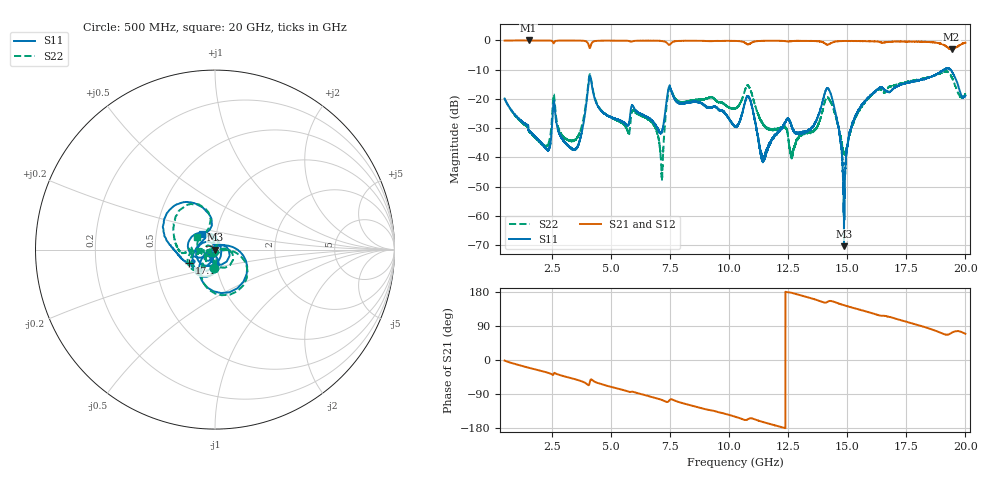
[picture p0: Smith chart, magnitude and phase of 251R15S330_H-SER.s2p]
!{251R15S330}
!Johanson Technology Inc.
!www.johansontechnology.com
!Test Board Conditions:
!Substrate Type  RO4350B
!Substrate Thickness  20 mil
!Substrate Dk  3.66
!TL Type: GCPW
!TL Trace Width  34 mil
!TL Gap  10 mil
!Electrode orientation  Horizontal
!DUT TOPOLOGY	SERIES
!Mounting Pad LxW  26x52 mil
! Created Thu Mar 12 17:12:57 2020
# mhz S ma R 50
! 2 Port Network Data from SP1.SP block
! freq  magS11  angS11  magS21  angS21  magS12  angS12  magS22  angS22
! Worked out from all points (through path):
!   19501 points, 500 MHz to 20 GHz, reference 50 ohm
!   highest |S21| = -0.01 dB at 1.516 GHz (marker M1); lowest = -3.1 dB at 19.41 GHz (marker M2)
!   group delay of S21, straight-line fit = 41.5 ps
!   lowest |S11| = -70.3 dB at 14.86 GHz (marker M3), VSWR 1.00, Z = 50 + j0.0162 ohm
!   |S11| at or under -10 dB: start of sweep to 19.08 GHz; 19.0785 GHz to 19.08038 GHz (1.879 MHz wide, 0.00985 % of centre); 19.38 GHz to end of sweep
!   |S22| runs from -47.6 to -10.6 dB; largest |S21 - S12| = 0.016
!   S11 on the Smith chart (normalised r, x): 500 MHz: 0.97, -0.20; 17.1 GHz: 0.74, -0.12; 20 GHz: 0.85, +0.15
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500  0.1017 -92.0  0.9937 -1.5  0.9944 -1.5  0.101 -91.7
1516  0.02908 -125.1  0.9993 -20.4  0.9982 -20.3  0.02875 -96.0
2329  0.01359 144.8  0.9968 -33.6  0.9963 -33.6  0.01611 -31.2
2597  0.08953 -72.9  0.9131 -34.2  0.9139 -34.2  0.1123 -65.5
3750  0.02519 52.5  0.9904 -55.9  0.9915 -55.9  0.03274 -11.6
4123  0.2473 -78.9  0.7621 -54.1  0.7619 -54.2  0.2604 -78.8
4753  0.05528 -158.1  0.9931 -66.7  0.9921 -66.7  0.05554 -145.7
7000  0.03025 -139.8  0.9868 -102.2  0.9871 -102.2  0.0228 143.8
7169  0.02864 -98.4  0.9785 -105.7  0.9768 -105.8  0.004774 -120.2
7509  0.1533 -136.2  0.8628 -104.4  0.8617 -104.4  0.1515 -143.5
10250  0.03361 19.0  0.9821 -149.5  0.9801 -149.4  0.0684 -143.4
10831  0.1087 -163.2  0.859 -155.0  0.8607 -155.1  0.1647 -158.5
11450  0.008958 2.5  0.9836 -163.9  0.9829 -164.0  0.03574 -154.4
12646  0.03424 -177.9  0.9711 177.3  0.9721 177.3  0.0102 -74.9
13500  0.03306 -160.2  0.9796 162.4  0.9815 162.4  0.0276 -63.9
14229  0.1446 147.2  0.8619 155.5  0.8642 155.2  0.09959 120.3
14862  0.0003051 32.0  0.9775 144.5  0.9769 144.7  0.01186 108.8
15410  0.05717 -104.6  0.9748 134.7  0.9786 134.9  0.05406 -174.3
16750  0.1313 -152.2  0.9431 114.3  0.9377 114.0  0.1588 -172.8
17103  0.1639 -152.3  0.9573 108.1  0.957 108.1  0.1762 -174.0
19415  0.2996 118.5  0.7036 71.5  0.707 72.1  0.2366 103.9
20000  0.1144 129.3  0.9135 69.2  0.9099 69.2  0.1223 145.4
